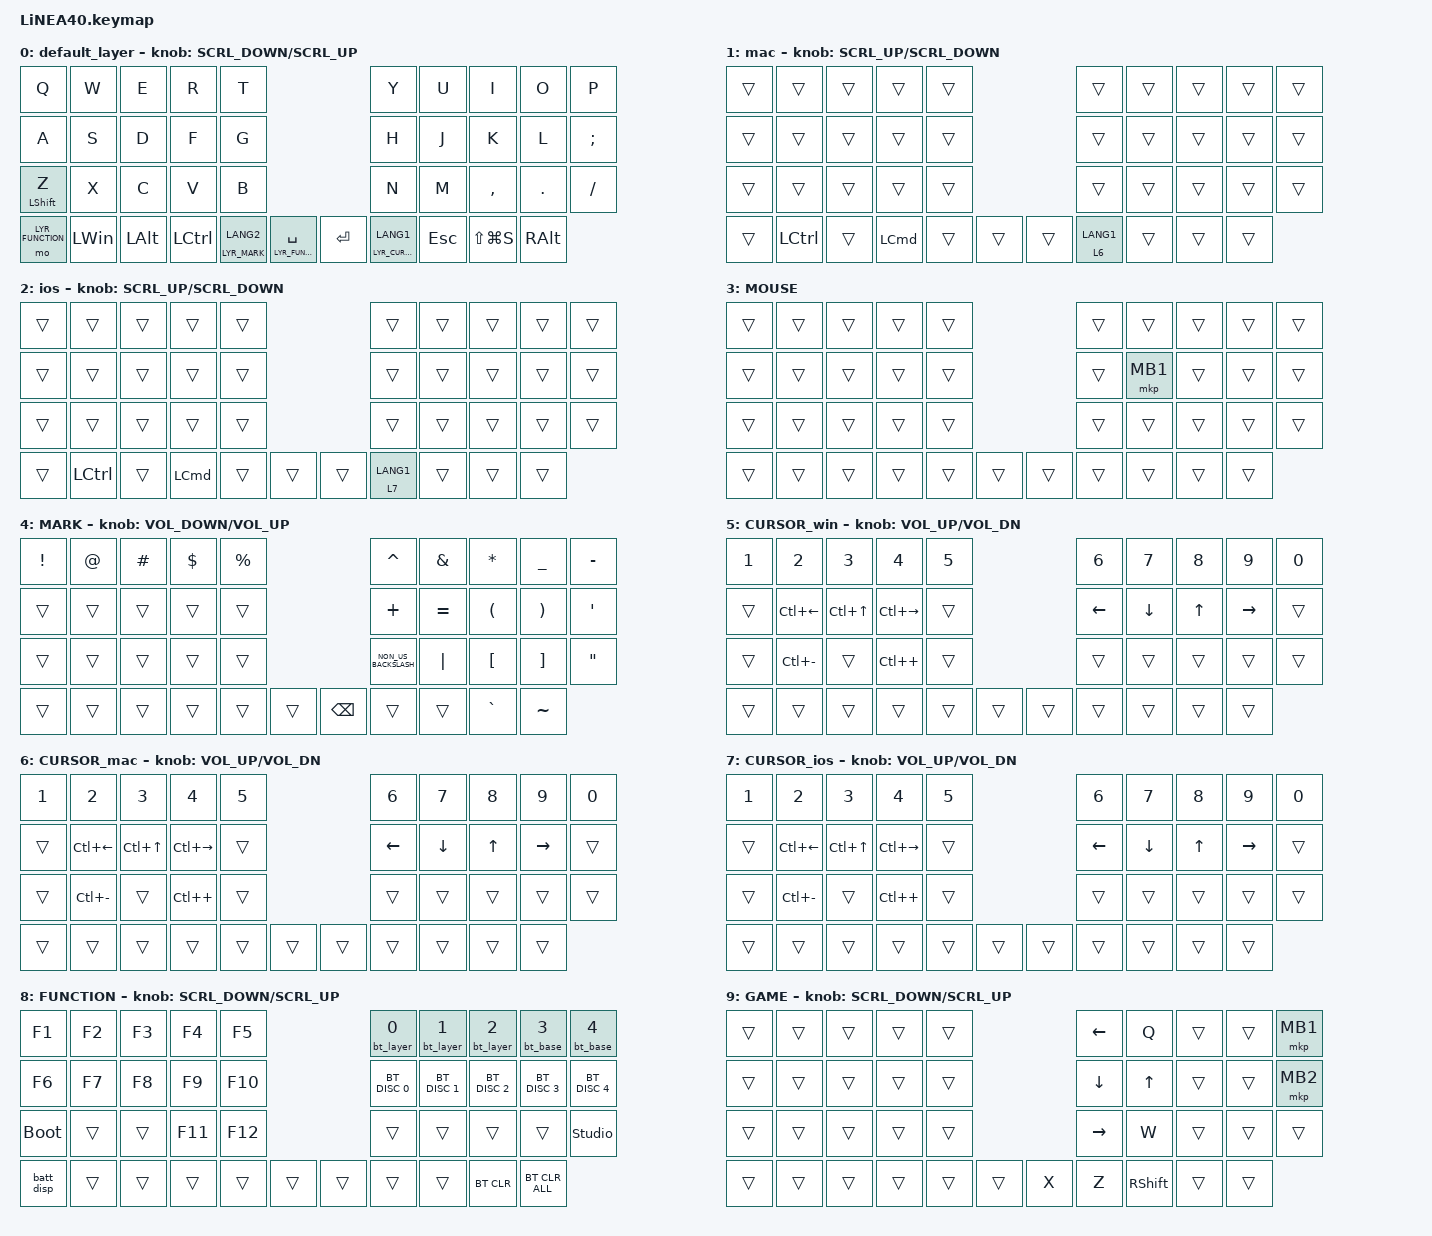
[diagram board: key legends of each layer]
#define ZMK_POINTING_DEFAULT_SCRL_VAL 150

#include <dt-bindings/zmk/input_transform.h>
#include <input/processors.dtsi>
#include <zephyr/dt-bindings/input/input-event-codes.h>
#include <behaviors.dtsi>
#include <dt-bindings/zmk/bt.h>
#include <dt-bindings/zmk/keys.h>
#include <dt-bindings/zmk/pointing.h>

// Layer numbers. The LYR_ prefix keeps these macros from also rewriting the
// layer node names below, which ZMK Studio shows to the user.
// mac=1, ios=2
#define LYR_MOUSE    3
#define LYR_MARK     4
#define LYR_CURSOR   5
#define LYR_FUNCTION 8
#define LYR_GAME     9

//mouse cursor
&mmv {
    delay-ms = <20>;
    trigger-period-ms = <5>;
    time-to-max-speed-ms = <100>;
    acceleration-exponent = <2>;
};

//mouse scroll
&msc {
    delay-ms = <3>;
    trigger-period-ms = <3>;
    time-to-max-speed-ms = <100>;
    acceleration-exponent = <0>;
};

/ {
    input_processors {
        zip_wheel_scaler: zip_wheel_scaler {
            compatible = "zmk,input-processor-scaler";
            #input-processor-cells = <2>;
            type = <INPUT_EV_REL>;
            codes = <INPUT_REL_WHEEL>;
            track-remainders;
        };
    };
};

&msc_input_listener {
    speed_up {
        layers = <LYR_FUNCTION>;
        input-processors = <&zip_wheel_scaler 3 1>;
    };
};

&trackball_listener {
    // Rotate the trackball 90 degrees on the game layer so that pushing the
    // ball to the right moves the cursor up.
    game_rotate {
        layers = <LYR_GAME>;
        input-processors =
            <&zip_xy_transform (INPUT_TRANSFORM_XY_SWAP | INPUT_TRANSFORM_Y_INVERT)>;
    };

    scroller {
        layers = <LYR_FUNCTION>;
        input-processors =
            <&zip_xy_transform INPUT_TRANSFORM_Y_INVERT>,
            <&zip_xy_to_scroll_mapper>;
    };
};

/ {
    combos {
        compatible = "zmk,combos";

        tabs {
            bindings = <&kp TAB>;
            key-positions = <0 1>;
        };

        // T + B toggles the game layer on and off (works from either layer).
        game_toggle {
            bindings = <&tog LYR_GAME>;
            key-positions = <4 24>;
        };

        mb1 {
            bindings = <&mkp MB1>;
            key-positions = <17 16>;
        };

        mb2 {
            bindings = <&mkp MB2>;
            key-positions = <18 17>;
        };
    };

    behaviors {


        batt_disp: batt_disp {
            compatible = "zmk,behavior-battery-display";
            #binding-cells = <0>;
        };

        bt_layer: bt_layer {
            compatible = "zmk,behavior-bt-layer";
            #binding-cells = <1>;
            display-name = "Wireless Layer";
        };

        bt_base: bt_base {
            compatible = "zmk,behavior-bt-base";
            #binding-cells = <1>;
            display-name = "Wireless Base";
        };


        re_kp: sensor_rotate_kp {
            compatible = "zmk,behavior-sensor-rotate-var";
            #sensor-binding-cells = <2>;
            bindings = <&kp>, <&kp>;
        };

        mouse_scrl: mouse_wheel_scrl {
            compatible = "zmk,behavior-sensor-rotate-var";
            #sensor-binding-cells = <2>;
            bindings = <&msc>, <&msc>;
            tap-ms = <20>;
        };
    };

    keymap {
        compatible = "zmk,keymap";

        // 0
        default_layer {
            bindings = <
&kp Q             &kp W         &kp E  &kp R      &kp T                                                   &kp Y        &kp U  &kp I      &kp O          &kp P
&kp A             &kp S         &kp D  &kp F      &kp G                                                   &kp H        &kp J  &kp K      &kp L          &kp SEMICOLON
&mt LEFT_SHIFT Z  &kp X         &kp C  &kp V      &kp B                                                   &kp N        &kp M  &kp COMMA  &kp DOT        &kp SLASH
&mo LYR_FUNCTION  &kp LEFT_WIN  &kp LEFT_ALT  &kp LCTRL  &lt LYR_MARK LANG2  &lt LYR_FUNCTION SPACE    &kp ENTER  &lt LYR_CURSOR LANG1    &kp ESC    &kp LS(LG(S))  &kp RIGHT_ALT
            >;
            sensor-bindings = <&mouse_scrl SCRL_DOWN SCRL_UP>;
        };

        // 1
        mac {
            bindings = <
&trans  &trans     &trans  &trans            &trans                              &trans  &trans  &trans  &trans  &trans
&trans  &trans     &trans  &trans            &trans                              &trans  &trans  &trans  &trans  &trans
&trans  &trans     &trans  &trans            &trans                              &trans  &trans  &trans  &trans  &trans
&trans  &kp LCTRL  &trans  &kp LEFT_COMMAND  &trans  &trans    &trans  &lt 6 LANG1         &trans  &trans  &trans
            >;
            sensor-bindings = <&mouse_scrl SCRL_UP SCRL_DOWN>;
        };

        // 2
        ios {
            bindings = <
&trans  &trans     &trans  &trans            &trans                              &trans  &trans  &trans  &trans  &trans
&trans  &trans     &trans  &trans            &trans                              &trans  &trans  &trans  &trans  &trans
&trans  &trans     &trans  &trans            &trans                              &trans  &trans  &trans  &trans  &trans
&trans  &kp LCTRL  &trans  &kp LEFT_COMMAND  &trans  &trans    &trans  &lt 7 LANG1         &trans  &trans  &trans
            >;
            sensor-bindings = <&mouse_scrl SCRL_UP SCRL_DOWN>;
        };

        // 3
        MOUSE {
            bindings = <
&trans  &trans  &trans  &trans  &trans                    &trans  &trans    &trans  &trans  &trans
&trans  &trans  &trans  &trans  &trans                    &trans  &mkp MB1  &trans  &trans  &trans
&trans  &trans  &trans  &trans  &trans                    &trans  &trans    &trans  &trans  &trans
&trans  &trans  &trans  &trans  &trans  &trans    &trans  &trans            &trans  &trans  &trans
            >;
        };

        // 4
        MARK {
            bindings = <
&kp EXCLAMATION  &kp AT  &kp HASH  &kp DOLLAR  &kp PERCENT                               &kp CARET             &kp AMPERSAND  &kp ASTERISK          &kp UNDERSCORE         &kp MINUS
&trans           &trans  &trans    &trans      &trans                                    &kp PLUS              &kp EQUAL      &kp LEFT_PARENTHESIS  &kp RIGHT_PARENTHESIS  &kp SQT
&trans           &trans  &trans    &trans      &trans                                    &kp NON_US_BACKSLASH  &kp PIPE       &kp LEFT_BRACKET      &kp RIGHT_BRACKET      &kp DOUBLE_QUOTES
&trans           &trans  &trans    &trans      &trans       &trans    &kp BACKSPACE  &trans                                   &trans                &kp GRAVE              &kp TILDE
            >;
            sensor-bindings = <&re_kp C_VOLUME_DOWN C_VOLUME_UP>;
        };

        // 5
        CURSOR_win {
            bindings = <
&kp NUMBER_1  &kp NUMBER_2        &kp NUMBER_3      &kp NUMBER_4         &kp NUMBER_5                    &kp NUMBER_6    &kp NUMBER_7    &kp NUMBER_8  &kp NUMBER_9     &kp NUMBER_0
&trans        &kp LC(LEFT_ARROW)  &kp LC(UP_ARROW)  &kp LC(RIGHT_ARROW)  &trans                          &kp LEFT_ARROW  &kp DOWN_ARROW  &kp UP_ARROW  &kp RIGHT_ARROW  &trans
&trans        &kp LC(MINUS)       &trans            &kp LC(PLUS)         &trans                          &trans          &trans          &trans        &trans           &trans
&trans        &trans              &trans            &trans               &trans        &trans    &trans  &trans                          &trans        &trans           &trans
            >;
            sensor-bindings = <&inc_dec_kp C_VOL_UP C_VOL_DN>;
        };

        // 6
        CURSOR_mac {
            bindings = <
&kp NUMBER_1  &kp NUMBER_2        &kp NUMBER_3      &kp NUMBER_4         &kp NUMBER_5                    &kp NUMBER_6    &kp NUMBER_7    &kp NUMBER_8  &kp NUMBER_9     &kp NUMBER_0
&trans        &kp LC(LEFT_ARROW)  &kp LC(UP_ARROW)  &kp LC(RIGHT_ARROW)  &trans                          &kp LEFT_ARROW  &kp DOWN_ARROW  &kp UP_ARROW  &kp RIGHT_ARROW  &trans
&trans        &kp LC(MINUS)       &trans            &kp LC(PLUS)         &trans                          &trans          &trans          &trans        &trans           &trans
&trans        &trans              &trans            &trans               &trans        &trans    &trans  &trans                          &trans        &trans           &trans
            >;
            sensor-bindings = <&inc_dec_kp C_VOL_UP C_VOL_DN>;
        };

        // 7
        CURSOR_ios {
            bindings = <
&kp NUMBER_1  &kp NUMBER_2        &kp NUMBER_3      &kp NUMBER_4         &kp NUMBER_5                    &kp NUMBER_6    &kp NUMBER_7    &kp NUMBER_8  &kp NUMBER_9     &kp NUMBER_0
&trans        &kp LC(LEFT_ARROW)  &kp LC(UP_ARROW)  &kp LC(RIGHT_ARROW)  &trans                          &kp LEFT_ARROW  &kp DOWN_ARROW  &kp UP_ARROW  &kp RIGHT_ARROW  &trans
&trans        &kp LC(MINUS)       &trans            &kp LC(PLUS)         &trans                          &trans          &trans          &trans        &trans           &trans
&trans        &trans              &trans            &trans               &trans        &trans    &trans  &trans                          &trans        &trans           &trans
            >;
            sensor-bindings = <&inc_dec_kp C_VOL_UP C_VOL_DN>;
        };

        // 8
        FUNCTION {
            bindings = <
&kp F1      &kp F2  &kp F3  &kp F4   &kp F5                     &bt_layer 0    &bt_layer 1    &bt_layer 2    &bt_base 3     &bt_base 4
&kp F6      &kp F7  &kp F8  &kp F9   &kp F10                    &bt BT_DISC 0  &bt BT_DISC 1  &bt BT_DISC 2  &bt BT_DISC 3  &bt BT_DISC 4
&bootloader &trans  &trans  &kp F11  &kp F12                    &trans         &trans         &trans         &trans         &studio_unlock
&batt_disp  &trans  &trans  &trans   &trans   &trans    &trans  &trans                        &trans         &bt BT_CLR     &bt BT_CLR_ALL
            >;
            sensor-bindings = <&mouse_scrl SCRL_DOWN SCRL_UP>;
        };

        // 9
        GAME {
            bindings = <
&trans  &trans  &trans  &trans  &trans                                 &kp LEFT_ARROW   &kp Q         &trans  &trans  &mkp MB1
&trans  &trans  &trans  &trans  &trans                                 &kp DOWN_ARROW   &kp UP_ARROW  &trans  &trans  &mkp MB2
&trans  &trans  &trans  &trans  &trans                                 &kp RIGHT_ARROW  &kp W         &trans  &trans  &trans
&trans  &trans  &trans  &trans  &trans  &trans    &kp X  &kp Z                          &kp RSHIFT    &trans  &trans
            >;
            sensor-bindings = <&mouse_scrl SCRL_DOWN SCRL_UP>;
        };

        // 10-12: extra slots for ZMK Studio runtime layer additions
        extra_0 { status = "disabled"; bindings = < &trans &trans &trans &trans &trans &trans &trans &trans &trans &trans &trans &trans &trans &trans &trans &trans &trans &trans &trans &trans &trans &trans &trans &trans &trans &trans &trans &trans &trans &trans &trans &trans &trans &trans &trans &trans &trans &trans &trans &trans &trans >; };
        extra_1 { status = "disabled"; bindings = < &trans &trans &trans &trans &trans &trans &trans &trans &trans &trans &trans &trans &trans &trans &trans &trans &trans &trans &trans &trans &trans &trans &trans &trans &trans &trans &trans &trans &trans &trans &trans &trans &trans &trans &trans &trans &trans &trans &trans &trans &trans >; };
        extra_2 { status = "disabled"; bindings = < &trans &trans &trans &trans &trans &trans &trans &trans &trans &trans &trans &trans &trans &trans &trans &trans &trans &trans &trans &trans &trans &trans &trans &trans &trans &trans &trans &trans &trans &trans &trans &trans &trans &trans &trans &trans &trans &trans &trans &trans &trans >; };
    };
};
